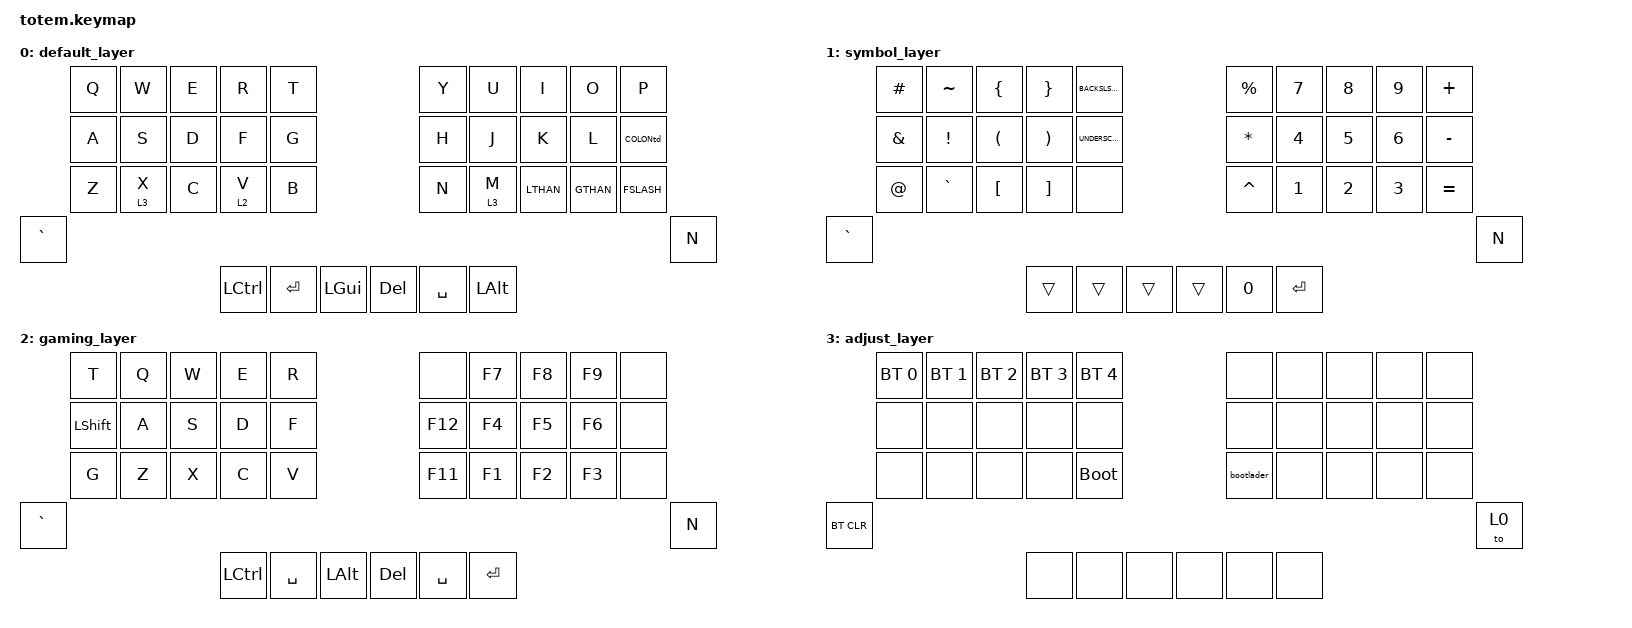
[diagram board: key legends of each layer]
#include <behaviors.dtsi>
#include <dt-bindings/zmk/keys.h>
#include <dt-bindings/zmk/bt.h>
#include <dt-bindings/zmk/outputs.h>

#define DEFAULT 0
#define SYMBOL  1
#define GAMING   2
#define RAISE   3
#define ADJUST  4

#define HYPER(key) LS(LC(LA(LG(key))))
#define MEH(key)   LS(LC(LA(key)))

&sl {
    release-after-ms = <5000>;
};

&kscan0 {
    debounce-press-ms = <30>;
    debounce-release-ms = <30>;
};

/ {
    behaviors {
    LTHAN: less_then_tap {
        compatible = "zmk,behavior-tap-dance";
        label = "LESS_THEN_TAP";
        #binding-cells = <0>;
        tapping-term-ms = <200>;
        bindings = <&lt 1 LT >, <&kp COMMA>; // > .
        };
    GTHAN: great_then_tap {
        compatible = "zmk,behavior-tap-dance";
        label = "GREAT_THEN_TAP";
        #binding-cells = <0>;
        tapping-term-ms = <200>;
        bindings = <&lt  GT>, <&kp COMMA>; // < , 
        };
    FSLASH: f_slash_tap {
        compatible = "zmk,behavior-tap-dance";
        label = "F_SLASH_TAP";
        #binding-cells = <0>;
        tapping-term-ms = <200>;
        bindings = <&kp FSLH>, <&kp QMARK>; // / ?
        };
    COLONtd: colon_tap {
        compatible = "zmk,behavior-tap-dance";
        label = "COLON_TAP";
        #binding-cells = <0>;
        tapping-term-ms = <200>;
        bindings = <&kp SEMI>, <&kp COLON>; // ; :
        };

    // Symbol Layer bindings
    BACKSLSHtd: backslash_tap {
        compatible = "zmk,behavior-tap-dance";
        label = "BACKSLASH_TAP";
        #binding-cells = <0>;
        tapping-term-ms = <200>;
        bindings = <&kp BSLH>, <&kp PIPE>; // \ |
        };
    };    
    UNDERSCOREtd: underscore_tap {
        compatible = "zmk,behavior-tap-dance";
        label = "UNDERSCORE_TAP";
        #binding-cells = <0>;
        tapping-term-ms = <200>;
        bindings = <&kp MINUS>, <&kp UNDER>;  // - _
        };

    keymap {
        compatible = "zmk,keymap";

        default_layer {
            bindings = <
          &kp Q   &kp W     &kp E    &kp R     &kp T                          &kp Y     &kp U     &kp I     &kp O    &kp P
          &kp A   &kp S     &kp D    &kp F     &kp G                          &kp H     &kp J     &kp K     &kp L    &COLONtd
          &kp Z   &lt 3 X     &kp C    &lt 2 V     &kp B                        &kp N     &lt 3 M   &LTHAN    &GTHAN   &FSLASH
&kp GRAVE                                                                                                                   &kp N
                                     &kp LCTRL &kp RET  &kp LGUI    &kp DEL   &kp SPACE   &kp LALT
            >;
        };

        symbol_layer {
            bindings = <
          &kp HASH   &kp TILDE   &kp LBRC   &kp RBRC     &BACKSLSHtd                 &kp PRCNT &kp N7     &kp N8     &kp N9    &kp PLUS
          &kp AMPS   &kp EXCL    &kp LPAR   &kp RPAR     &UNDERSCOREtd                  &kp STAR  &kp N4     &kp N5     &kp N6    &kp MINUS
          &kp AT     &kp GRAVE   &kp LBKT   &kp RBKT     &none                          &kp CARET &kp N1     &kp N2     &kp N3    &kp EQUAL
&kp GRAVE                                                                                                                                  &kp N
                                            &trans       &trans  &trans         &trans  &kp 0     &kp RET   
            >;
        };
                
        gaming_layer {
            bindings = <
          &kp T     &kp Q    &kp W    &kp E     &kp R                          &none       &kp F7     &kp F8     &kp F9    &none
          &kp LSHFT &kp A    &kp S    &kp D     &kp F                          &kp F12     &kp F4     &kp F5     &kp F6    &none
          &kp G     &kp Z    &kp X    &kp C     &kp V                          &kp F11     &kp F1     &kp F2     &kp F3    &none
&kp GRAVE                                                                                                                   &kp N
                                     &kp LCTRL &kp SPACE  &kp LALT   &kp DEL   &kp SPACE   &kp RET
            >;
        };
        
        adjust_layer {
            bindings = <
          &bt BT_SEL 0  &bt BT_SEL 1 &bt BT_SEL 2 &bt BT_SEL 3 &bt BT_SEL 4                          &none       &none    &none     &none    &none
          &none         &none        &none        &none        &none                                 &none       &none    &none     &none    &none
          &none         &none        &none        &none     &bootloader                          &bootlader      &none    &none     &none    &none
&bt BT_CLR                                                                                                                                         &to 0
                                     &none &none  &none                                      &none   &none       &none
            >;
        };
    };
};
